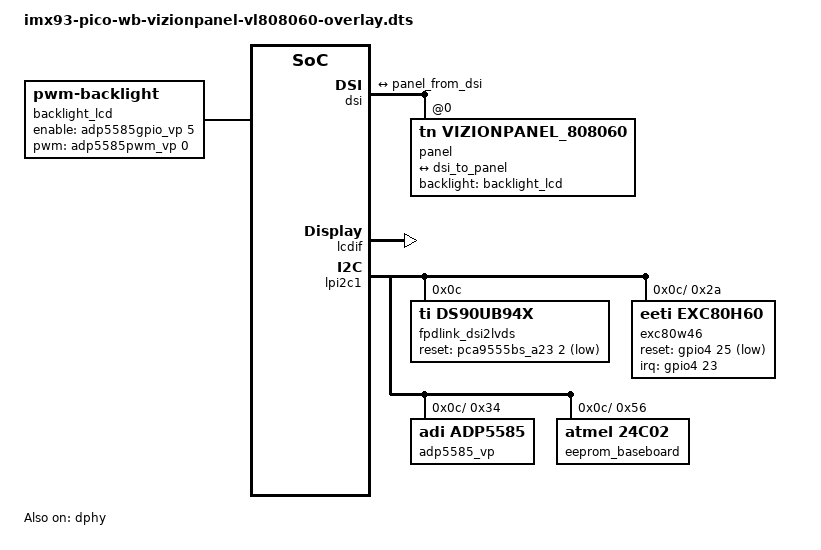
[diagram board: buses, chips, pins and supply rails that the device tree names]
// SPDX-License-Identifier: (GPL-2.0+ OR MIT)
/*
 * Copyright 2020 TechNexion Ltd.
 *
 * Author: Richard Hu <richard.hu@technexion.com>
 *
 */

/dts-v1/;
/plugin/;

#include <dt-bindings/interrupt-controller/irq.h>
#include <dt-bindings/gpio/gpio.h>

/ {
	fragment@0 {
		target-path = "/";
		__overlay__ {
			backlight_lcd: backlight_lcd {
				compatible = "pwm-backlight";
				pwms = <&adp5585pwm_vp 0 50000 0>;
				brightness-levels = <0 36 72 108 144 180 216 255>;
				default-brightness-level = <6>;
				post-pwm-on-delay-ms = <500>;
				enable-gpios = <&adp5585gpio_vp 5 GPIO_ACTIVE_HIGH>; //EXP_DISP0_VDD_EN
				status = "okay";
			};
		};
	};

	fragment@1 {
		target-path = "/";
		__overlay__ {
			disp_backlight: disp_backlight {
				status = "okay";
			};
		};
	};

	fragment@2 {
		target = <&dphy>;
		__overlay__ {
			status = "okay";
		};
	};

	fragment@3 {
		target = <&dsi>;
		__overlay__ {
			status = "okay";
			#address-cells = <1>;
			#size-cells = <0>;

			panel@0 {
				compatible = "tn,vizionpanel_808060";
				backlight = <&backlight_lcd>;
				reg = <0>;
				status = "okay";

				port {
					panel_from_dsi: endpoint {
						remote-endpoint = <&dsi_to_panel>;
					};
				};
			};

			ports {
				#address-cells = <1>;
				#size-cells = <0>;
				port@1 {
					reg = <1>;

					dsi_to_panel: endpoint {
						remote-endpoint = <&panel_from_dsi>;
					};
				};
			};
		};
	};

	fragment@4 {
		target = <&lcdif>;
		__overlay__ {
			status = "okay";
			assigned-clock-rates = <445333333>, <148444444>, <400000000>, <133333333>;
		};
	};

	fragment@5 {
		target = <&lpi2c1>;
		__overlay__ {
			#address-cells = <1>;
			#size-cells = <0>;
			status = "okay";

			fpdlink_dsi2lvds: ds90ub926@c {
				compatible = "ti,ds90ub94x";
				reg = <0x0c>;
				status = "okay";
				reset-gpios = <&pca9555bs_a23 2 GPIO_ACTIVE_LOW>;
				dsi-delay = <2500>;
				i2c-alias-pool = <0x48 0x49 0x4a 0x4b 0x4c 0x4d 0x4e 0x4f>;

				i2c {
					#address-cells = <1>;
					#size-cells = <0>;

					exc80w46: touchscreen@2a {
						compatible = "eeti,exc80h60";
						pinctrl-names = "touch_reset", "mipi_touch";
						pinctrl-0 = <&pinctrl_touch>;
						pinctrl-1 = <&pinctrl_mipi_touch_irq>;
						reg = <0x2a>;
						interrupt-parent = <&gpio4>;
						interrupts = <23 IRQ_TYPE_LEVEL_LOW>;
						reset-gpios = <&gpio4 25 GPIO_ACTIVE_LOW>;
						status = "okay";
					};

					/*	vp: vizionpanel.
						imx9 series has origin adp5585 chip, prevert conflict. */
					adp5585_vp: mfd@34 {
						compatible = "adi,adp5585";
						reg = <0x34>;

						adp5585gpio_vp: gpio@34 {
							compatible = "adp5585-gpio";
							gpio-controller;
							#gpio-cells = <2>;
							gpio-line-names = "TP12", "EXP_DISP0_RESET", "EXP_5VSYS_EN", "EXP_DISP0_BLT_CTRL", "TP11",
									"EXP_DISP0_VDD_EN", "U_D", "L_R", "TP9", "TP10";

							exp_disp0_5vsys_en {
								gpio-hog;
								gpios = <2 GPIO_ACTIVE_HIGH>;
								output-low;
							};

							exp_disp0_U_D {
								gpio-hog;
								gpios = <6 GPIO_ACTIVE_HIGH>;
								output-low;
							};

							exp_disp0_L_R {
								gpio-hog;
								gpios = <7 GPIO_ACTIVE_HIGH>;
								output-high;
							};
						};

						adp5585pwm_vp: pwm@34 {
							compatible = "adp5585-pwm";
							#pwm-cells = <3>;
						};
					};

					eeprom_baseboard: eeprom@56 {
						compatible = "atmel,24c02";
						reg = <0x56>;
						pagesize = <16>;
						status = "okay";
					};
				};
			};
		};
	};
};
